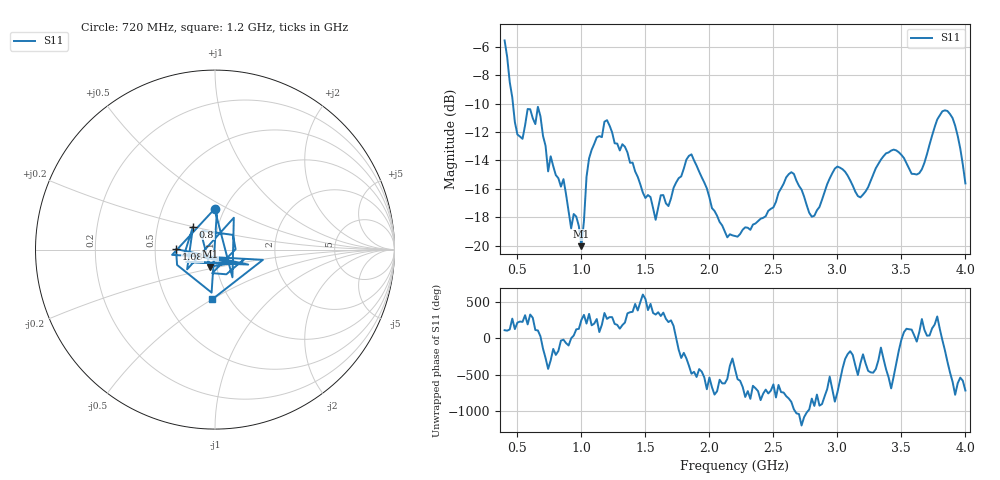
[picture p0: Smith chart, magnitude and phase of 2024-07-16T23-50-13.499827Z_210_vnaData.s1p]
!Created with skrf (http://scikit-rf.org).
# Hz S RI R 50.0
!freq ReS11 ImS11
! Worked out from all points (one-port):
!   181 points, 400 MHz to 4 GHz, reference 50 ohm
!   lowest |S11| = -20.0 dB at 1 GHz (marker M1), VSWR 1.22, Z = 46.3 - j8.9 ohm
!   |S11| at or under -10 dB: 465 MHz to end of sweep
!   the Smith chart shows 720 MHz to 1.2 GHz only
!   S11 on the Smith chart (normalised r, x): 720 MHz: 0.90, +0.43; 800 MHz: 0.76, +0.20; 1.08 GHz: 0.64, +0.00; 1.2 GHz: 0.84, -0.50
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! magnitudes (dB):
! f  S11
! 400 MHz  -5.6
! 500 MHz  -12.2
! 660 MHz  -10.2
! 720 MHz  -13.0
! 740 MHz  -14.8
! 800 MHz  -15.0
! 860 MHz  -15.3
! 920 MHz  -18.8
! 960 MHz  -18.0
! 1 GHz  -20.0
! 1.04 GHz  -15.2
! 1.08 GHz  -13.3
! 1.2 GHz  -11.2
! 1.3 GHz  -13.3
! 1.58 GHz  -18.2
! 1.76 GHz  -15.3
! 1.86 GHz  -13.6
! 2.2 GHz  -19.3
! 2.66 GHz  -15.0
! 2.8 GHz  -18.0
! 2.98 GHz  -14.6
! 3.1 GHz  -15.4
! 3.18 GHz  -16.6
! 3.44 GHz  -13.2
! 3.56 GHz  -14.6
! 3.64 GHz  -14.9
! 3.86 GHz  -10.5
! 4 GHz  -15.6
